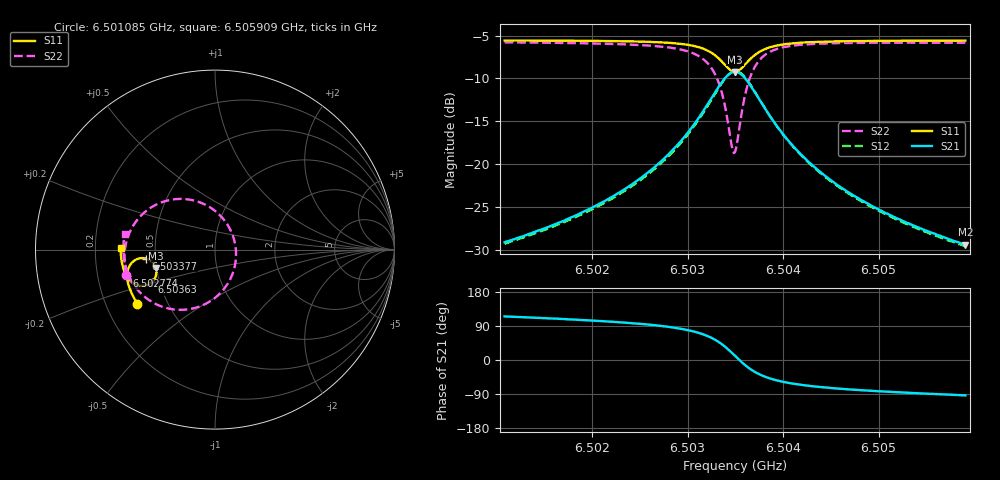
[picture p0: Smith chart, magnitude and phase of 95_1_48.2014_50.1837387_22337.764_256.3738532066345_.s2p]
#  HZ  S  RI  R  50.00
! Rohde & Schwarz Vector Network Analyzer
! Rohde-Schwarz,ZNB20-2Port,1311601062101988,3.16
! Created: UTC 3/20/2024, 11:40:15 AM
! freq[Hz]  re:S11  im:S11  re:S21  im:S21  re:S12  im:S12  re:S22  im:S22
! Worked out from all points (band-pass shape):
!   401 points, 6.501085 GHz to 6.505909 GHz, reference 50 ohm
!   highest |S21| = -9.23 dB at 6.503497 GHz (marker M1); lowest = -29.4 dB at 6.505909 GHz (marker M2)
!   |S21| within 3 dB of the highest: 6.503256 GHz to 6.503738 GHz (482.8 kHz wide, 0.00742 % of centre)
!   lowest |S11| = -9.2 dB at 6.503497 GHz (marker M3), VSWR 2.05, Z = 24.8 - j5.76 ohm
!   |S11| at or under -10 dB: nowhere
!   |S22| runs from -18.7 to -5.8 dB; largest |S21 - S12| = 0.012
!   S11 on the Smith chart (normalised r, x): 6.501085 GHz: 0.34, -0.28; 6.502774 GHz: 0.33, -0.13; 6.503377 GHz: 0.44, -0.05; 6.50363 GHz: 0.45, -0.20; 6.505909 GHz: 0.31, +0.01
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6.5010852e9  -0.4323 -0.3004  -0.0148 0.0316  -0.013 0.0317  -0.4936 -0.1408
6.5018932e9  -0.4662 -0.2395  -0.0139 0.0502  -0.0115 0.0496  -0.5045 -0.0523
6.5023394e9  -0.4814 -0.1988  -0.0107 0.0704  -0.0076 0.0692  -0.4996 0.0138
6.5027012e9  -0.4893 -0.1576  -0.000938 0.1009  0.00274 0.0985  -0.4779 0.09
6.5027736e9  -0.4897 -0.1475  0.00316 0.11  0.00686 0.1071  -0.4689 0.1096
6.5029786e9  -0.4858 -0.1141  0.025 0.1443  0.0288 0.14  -0.4232 0.1776
6.5031354e9  -0.4704 -0.0818  0.0655 0.1809  0.0681 0.175  -0.3444 0.2417
6.5032801e9  -0.4317 -0.0521  0.1491 0.21  0.1497 0.2036  -0.1919 0.2825
6.5033284e9  -0.4101 -0.0473  0.1924 0.2084  0.1925 0.2026  -0.1155 0.273
6.5033766e9  -0.3843 -0.0496  0.2425 0.1924  0.2423 0.1877  -0.0302 0.2372
6.503461e9  -0.3407 -0.0797  0.3217 0.1158  0.3242 0.1115  0.0965 0.0856
6.5034972e9  -0.3297 -0.1024  0.3393 0.0658  0.3431 0.0603  0.1171 -0.00831
6.5035213e9  -0.3267 -0.119  0.3428 0.0305  0.3467 0.0236  0.114 -0.0731
6.5035575e9  -0.3291 -0.1435  0.3349 -0.0205  0.3384 -0.0297  0.0853 -0.1637
6.5036299e9  -0.3518 -0.1814  0.2868 -0.0981  0.2867 -0.1098  -0.0282 -0.2888
6.5037263e9  -0.3934 -0.2012  0.2069 -0.1417  0.2019 -0.1521  -0.191 -0.3355
6.5038831e9  -0.4433 -0.1938  0.1173 -0.1408  0.1099 -0.1464  -0.354 -0.29
6.504052e9  -0.4728 -0.1727  0.0687 -0.1194  0.062 -0.1219  -0.4331 -0.2217
6.5043052e9  -0.4955 -0.1413  0.0351 -0.0922  0.0302 -0.0926  -0.4814 -0.1425
6.504667e9  -0.5113 -0.1025  0.0155 -0.0676  0.012 -0.0673  -0.5043 -0.0665
6.5051133e9  -0.5207 -0.0606  0.00545 -0.0502  0.00298 -0.0495  -0.5108 -0.000517
6.5059092e9  -0.5259 0.00738  -0.00197 -0.0338  -0.00341 -0.033  -0.5035 0.0862
